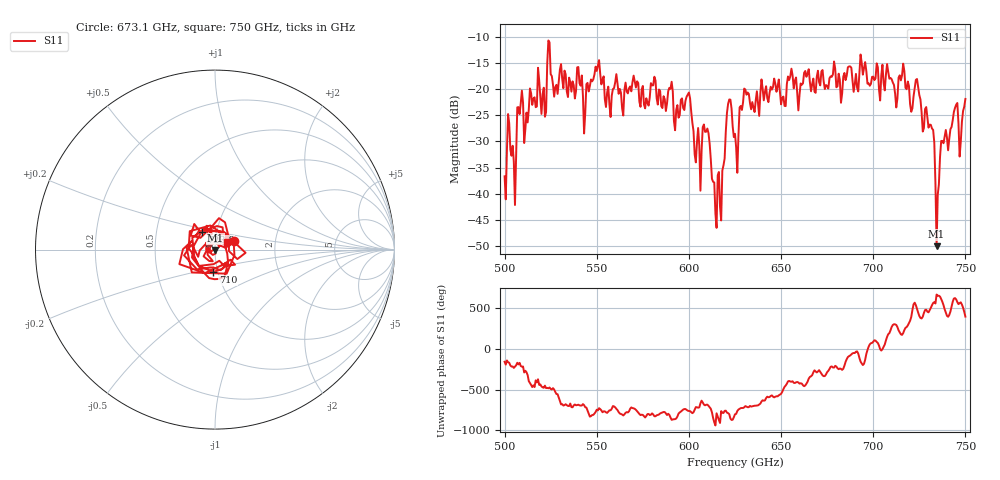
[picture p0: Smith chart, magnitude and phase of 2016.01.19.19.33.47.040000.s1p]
!Created with skrf (http://scikit-rf.org).
# GHz S RI R 50.0
!freq ReS11 ImS11
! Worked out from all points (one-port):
!   401 points, 500 GHz to 750 GHz, reference 50 ohm
!   lowest |S11| = -50.0 dB at 734.4 GHz (marker M1), VSWR 1.01, Z = 50.2 - j0.265 ohm
!   |S11| at or under -10 dB: start of sweep to end of sweep
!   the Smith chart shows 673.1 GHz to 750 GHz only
!   S11 on the Smith chart (normalised r, x): 673.1 GHz: 1.24, +0.12; 710 GHz: 0.95, -0.24; 723.8 GHz: 0.84, +0.17; 750 GHz: 1.14, +0.10
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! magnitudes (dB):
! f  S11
! 500 GHz  -36.7
! 502.5 GHz  -26.5
! 505 GHz  -33.9
! 508.1 GHz  -24.8
! 521.2 GHz  -19.7
! 524.4 GHz  -11.1
! 527.5 GHz  -19.6
! 531.2 GHz  -18.0
! 562.5 GHz  -20.0
! 590 GHz  -19.9
! 593.8 GHz  -23.1
! 599.4 GHz  -21.0
! 605 GHz  -27.4
! 609.4 GHz  -28.1
! 616.2 GHz  -35.9
! 621.9 GHz  -22.0
! 625 GHz  -28.5
! 631.2 GHz  -21.1
! 656.2 GHz  -17.4
! 673.1 GHz  -18.6
! 687.5 GHz  -15.7
! 710 GHz  -18.1
! 718.8 GHz  -18.5
! 723.8 GHz  -18.1
! 731.9 GHz  -27.5
! 734.4 GHz  -50.0
! 738.1 GHz  -30.3
! 750 GHz  -21.9
